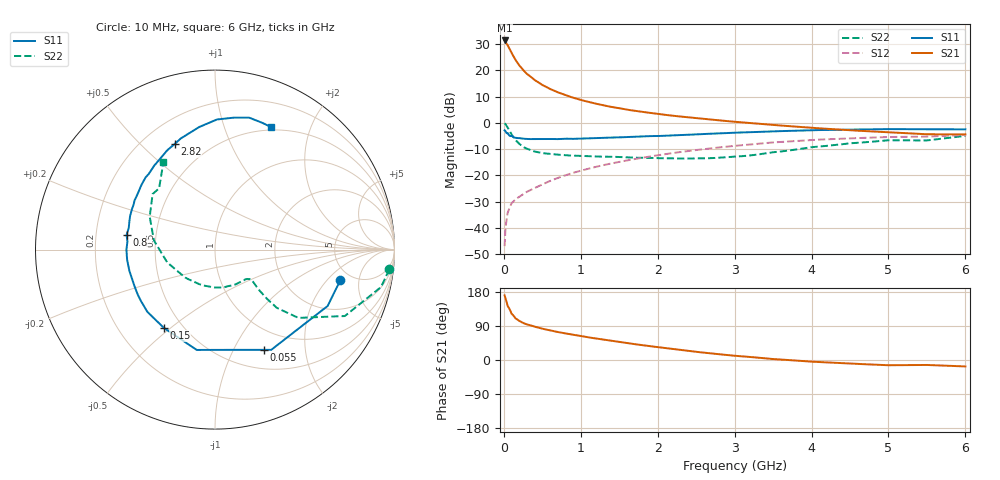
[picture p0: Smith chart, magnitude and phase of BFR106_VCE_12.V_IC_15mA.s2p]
! Infineon Technologies  Discrete & RF Semiconductors
! BFR106
! VCE =  12. V,  IC =  15 mA
! Common Emitter S-Parameters:  Nov 2015
# GHz  S  MA  R  50
!  f  S11  S21  S12  S22
! GHz  MAG  ANG  MAG  ANG  MAG  ANG  MAG  ANG
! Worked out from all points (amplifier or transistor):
!   210 points, 10 MHz to 6 GHz, reference 50 ohm
!   highest |S21| = 31.3 dB at 10 MHz (marker M1)
!   |S21| within 3 dB of that: start of sweep to 70.08 MHz
!   unconditionally stable (mu >= 1): 440.6 MHz to 2.082 GHz
!   at 185 MHz: K = 0.66, MSG = 25.5 dB, |S12| = -28.4 dB
!   at 1.52 GHz: K = 1.06, MAG = 8.6 dB, |S12| = -14.8 dB
!   at 6 GHz: K = 0.99, MSG = 0.1 dB, |S12| = -4.6 dB
!   S11 on the Smith chart (normalised r, x): 10 MHz: 4.05, -2.84; 55 MHz: 0.73, -1.33; 150 MHz: 0.40, -0.47; 800 MHz: 0.34, +0.07; 2.82 GHz: 0.33, +0.64; 6 GHz: 0.47, +1.46
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0.01  0.7193 -13.6  36.87 170.5  0.0045 83.0  0.977 -6.5
0.02  0.7018 -26.6  35.59 163.1  0.009 79.8  0.9485 -12.7
0.05  0.6403 -60.7  29.91 142.5  0.0195 63.4  0.8126 -27.1
0.055  0.6211 -64.0  28.93 141.0  0.0204 62.1  0.7902 -28.0
0.1  0.5682 -100.3  21.32 122.3  0.0293 54.5  0.6009 -39.3
0.15  0.5209 -123.2  15.75 110.1  0.0349 50.9  0.4723 -43.3
0.2  0.5122 -137.4  12.43 103.1  0.0392 52.1  0.3989 -43.4
0.24  0.5018 -145.7  10.56 98.9  0.0429 53.1  0.3589 -42.9
0.26  0.4987 -149.2  9.781 97.0  0.0448 53.9  0.3434 -42.7
0.3  0.493 -155.1  8.527 93.9  0.0487 56.0  0.3214 -42.2
0.4  0.4915 -166.0  6.52 87.8  0.0574 59.1  0.2839 -40.5
0.5  0.4929 -173.3  5.245 82.5  0.0675 61.3  0.2652 -39.5
0.6  0.4936 -179.9  4.414 78.1  0.0782 63.1  0.2559 -40.1
0.8  0.4995 170.6  3.36 70.1  0.1003 64.5  0.2416 -42.6
1.02  0.5036 161.0  2.678 62.5  0.1249 65.1  0.2346 -47.1
1.4  0.5252 148.6  2.002 50.8  0.1689 63.4  0.226 -58.2
2.02  0.5618 130.7  1.464 33.5  0.2436 57.9  0.2123 -83.3
2.82  0.6306 110.8  1.108 14.8  0.3424 47.9  0.2176 -127.0
3.1  0.6548 105.0  1.018 9.7  0.3755 43.8  0.2322 -143.2
4.1  0.7278 87.6  0.786 -5.4  0.4791 28.0  0.3534 167.4
5.1  0.7576 74.3  0.65 -13.7  0.5384 13.1  0.4645 137.1
6  0.7507 65.3  0.602 -17.0  0.588 2.0  0.565 120.6
